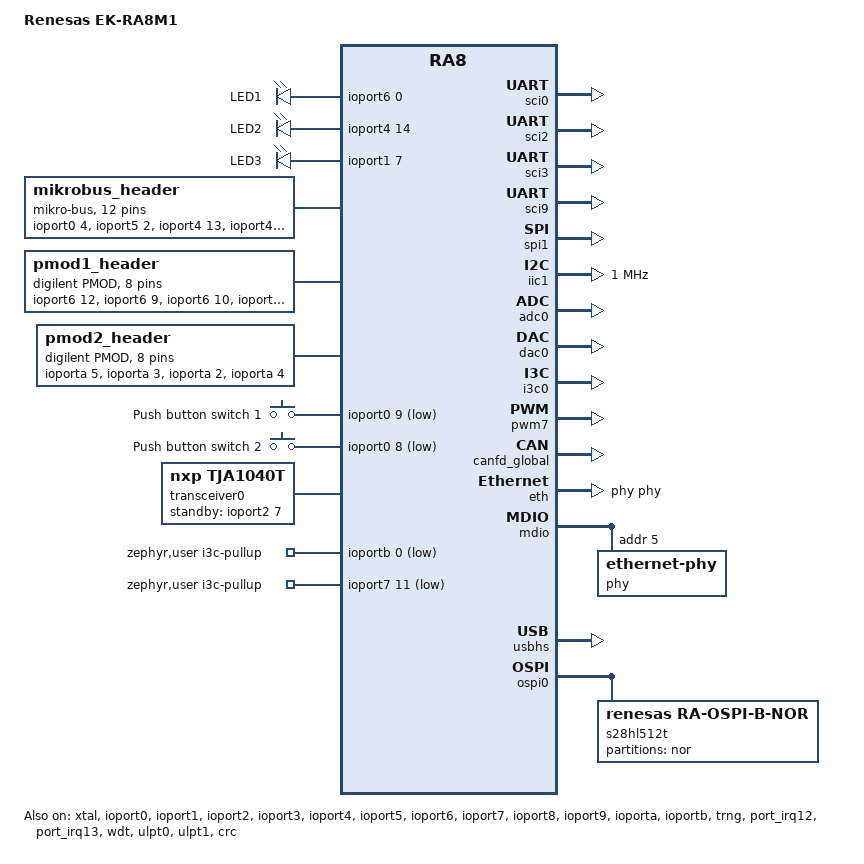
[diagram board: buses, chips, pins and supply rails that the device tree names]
/*
 * Copyright (c) 2024-2025 Renesas Electronics Corporation
 * SPDX-License-Identifier: Apache-2.0
 */

/dts-v1/;

#include <renesas/ra/ra8/r7fa8m1ahecbd.dtsi>
#include <dt-bindings/gpio/gpio.h>
#include <zephyr/dt-bindings/flash_controller/xspi.h>
#include <zephyr/dt-bindings/adc/adc.h>
#include <zephyr/dt-bindings/input/input-event-codes.h>
#include "ek_ra8m1-pinctrl.dtsi"

/ {
	model = "Renesas EK-RA8M1";
	compatible = "renesas,ra8m1", "renesas,ra8";

	chosen {
		zephyr,sram = &sram0;
		zephyr,flash-controller = &flash1;
		zephyr,flash = &flash0;
		zephyr,console = &uart9;
		zephyr,shell-uart = &uart9;
		zephyr,entropy = &trng;
		zephyr,canbus = &canfd0;
		zephyr,crc = &crc;
	};

	leds {
		compatible = "gpio-leds";

		led1: led1 {
			gpios = <&ioport6 0 GPIO_ACTIVE_HIGH>;
			label = "LED1";
		};

		led2: led2 {
			gpios = <&ioport4 14 GPIO_ACTIVE_HIGH>;
			label = "LED2";
		};

		led3: led3 {
			gpios = <&ioport1 7 GPIO_ACTIVE_HIGH>;
			label = "LED3";
		};
	};

	mikrobus_header: mikrobus-connector {
		compatible = "mikro-bus";
		#gpio-cells = <2>;
		gpio-map-mask = <0xffffffff 0xffffffc0>;
		gpio-map-pass-thru = <0 0x3f>;
		gpio-map = <0 0 &ioport0 4 0>,	/* AN  */
			   <1 0 &ioport5 2 0>,	/* RST */
			   <2 0 &ioport4 13 0>,	/* CS   */
			   <3 0 &ioport4 12 0>,	/* SCK  */
			   <4 0 &ioport4 10 0>,	/* MISO */
			   <5 0 &ioport4 11 0>,	/* MOSI */
			   /* +3.3V */
			   /* GND */
			   <6 0 &ioport9 7 0>,	/* PWM  */
			   <7 0 &ioport0 10 0>,	/* INT  */
			   <8 0 &ioport3 9 0>,	/* RX   */
			   <9 0 &ioport3 10 0>,	/* TX   */
			   <10 0 &ioport4 0 0>,	/* SCL  */
			   <11 0 &ioport4 1 0>;	/* SDA  */
		/* +5V */
		/* GND */
	};

	pmod1_header: pmod-connector-1 {
		compatible = "digilent,pmod";
		#gpio-cells = <2>;
		gpio-map-mask = <0xffffffff 0xffffffc0>;
		gpio-map-pass-thru = <0 0x3f>;
		gpio-map = <0 0 &ioport6 12 0>,	/* IO1 */
			   <1 0 &ioport6 9 0>,	/* IO2 */
			   <2 0 &ioport6 10 0>,	/* IO3 */
			   <3 0 &ioport6 11 0>,	/* IO4 */
			   <4 0 &ioport0 6 0>,	/* IO5 */
			   <5 0 &ioporta 8 0>,	/* IO6 */
			   <6 0 &ioport6 14 0>,	/* IO7 */
			   <7 0 &ioport6 15 0>;	/* IO8 */
	};

	pmod2_header: pmod-connector-2 {
		compatible = "digilent,pmod";
		#gpio-cells = <2>;
		gpio-map-mask = <0xffffffff 0xffffffc0>;
		gpio-map-pass-thru = <0 0x3f>;
		gpio-map = <0 0 &ioporta 5 0>,	/* IO1 */
			   <1 0 &ioporta 3 0>,	/* IO2 */
			   <2 0 &ioporta 2 0>,	/* IO3 */
			   <3 0 &ioporta 4 0>,	/* IO4 */
			   <4 0 &ioport5 8 0>,	/* IO5 */
			   <5 0 &ioport8 9 0>,	/* IO6 */
			   <6 0 &ioport8 10 0>,	/* IO7 */
			   <7 0 &ioport8 11 0>;	/* IO8 */
	};

	buttons {
		compatible = "gpio-keys";

		button0: s1 {
			gpios = <&ioport0 9 (GPIO_PULL_UP | GPIO_ACTIVE_LOW)>;
			label = "Push button switch 1";
			zephyr,code = <INPUT_KEY_0>;
		};

		button1: s2 {
			gpios = <&ioport0 8 (GPIO_PULL_UP | GPIO_ACTIVE_LOW)>;
			label = "Push button switch 2";
			zephyr,code = <INPUT_KEY_1>;
		};
	};

	aliases {
		led0 = &led1;
		sw0 = &button0;
		sw1 = &button1;
		watchdog0 = &wdt;
	};

	transceiver0: can-phy0 {
		compatible = "nxp,tja1040t", "can-transceiver-gpio";
		standby-gpios = <&ioport2 7 GPIO_ACTIVE_HIGH>;
		max-bitrate = <5000000>;
		#phy-cells = <0>;
	};

	zephyr,user {
		i3c-pullup-gpios = <&ioportb 0 GPIO_ACTIVE_LOW>,
				   <&ioport7 11 GPIO_ACTIVE_LOW>;
	};
};

&xtal {
	clock-frequency = <DT_FREQ_M(20)>;
	mosel = <0>;
	#clock-cells = <0>;
	status = "okay";
};

&subclk {
	status = "okay";
};

&pll {
	status = "okay";

	pllp {
		status = "okay";
	};

	pllq {
		div = <4>;
		freq = <DT_FREQ_M(240)>;
		status = "okay";
	};

	pllr {
		status = "okay";
	};
};

&pll2 {
	status = "okay";
	clocks = <&xtal>;
	div = <2>;
	mul = <80 0>;

	pll2p {
		status = "okay";
		freq = <DT_FREQ_M(400)>;
		div = <2>;
	};
};

&sciclk {
	clocks = <&pllp>;
	div = <4>;
	status = "okay";
};

&canfdclk {
	clocks = <&pllp>;
	div = <6>;
	status = "okay";
};

&uclk {
	clocks = <&pllq>;
	div = <5>;
	status = "okay";
};

&octaspiclk {
	clocks = <&pll2p>;
	div = <2>;
	status = "okay";
};

&i3cclk {
	clocks = <&pllp>;
	div = <3>;
	status = "okay";
};

&ioport0 {
	status = "okay";
};

&ioport1 {
	status = "okay";
};

&ioport2 {
	status = "okay";
};

&ioport3 {
	status = "okay";
};

&ioport4 {
	status = "okay";
};

&ioport5 {
	status = "okay";
};

&ioport6 {
	status = "okay";
};

&ioport7 {
	status = "okay";
};

&ioport8 {
	status = "okay";
};

&ioport9 {
	status = "okay";
};

&ioporta {
	status = "okay";
};

&ioportb {
	status = "okay";
};

&sci0 {
	pinctrl-0 = <&sci0_default>;
	pinctrl-names = "default";
	status = "okay";

	uart0: uart {
		current-speed = <115200>;
		status = "okay";
	};
};

&sci1 {
	pinctrl-0 = <&sci1_default>;
	pinctrl-names = "default";

	i2c1: i2c {
		sda-output-delay = <300>;
		noise-filter-clock-select = <1>;
		bit-rate-modulation;
	};
};

&sci2 {
	pinctrl-0 = <&sci2_default>;
	pinctrl-names = "default";
	status = "okay";

	uart2: uart {
		current-speed = <115200>;
		status = "okay";
	};
};

&sci3 {
	pinctrl-0 = <&sci3_default>;
	pinctrl-names = "default";
	status = "okay";

	uart3: uart {
		current-speed = <115200>;
		status = "okay";
	};
};

&sci9 {
	pinctrl-0 = <&sci9_default>;
	pinctrl-names = "default";
	status = "okay";

	uart9: uart {
		current-speed = <115200>;
		status = "okay";
	};
};

mikrobus_serial: &uart3 {};

mikrobus_spi: &spi1 {};

&iic1 {
	#address-cells = <1>;
	#size-cells = <0>;
	clock-frequency = <DT_FREQ_M(1)>;
	pinctrl-0 = <&iic1_default>;
	pinctrl-names = "default";
};

&adc0 {
	status = "okay";
	pinctrl-0 = <&adc0_default>;
	pinctrl-names = "default";
	average-count = <4>;
};

&dac0 {
	pinctrl-0 = <&dac0_default>;
	pinctrl-names = "default";
	status = "okay";
};

&trng {
	status = "okay";
};

&spi1 {
	pinctrl-0 = <&spi1_default>;
	pinctrl-names = "default";
	status = "okay";
};

&i3c0 {
	i2c-scl-hz = <DT_FREQ_K(400)>;
	i3c-scl-hz = <DT_FREQ_M(4)>;
	pinctrl-0 = <&i3c0_default>;
	pinctrl-names = "default";
	interrupts = <60 1>, <61 1>, <62 1>, <63 1>, <64 1>, <65 1>;
	interrupt-names = "resp", "rx", "tx", "rcv", "ibi", "eei";
	status = "okay";
};

&pwm7 {
	pinctrl-0 = <&pwm7_default>;
	interrupts = <40 1>, <41 1>;
	interrupt-names = "gtioca", "overflow";
	pinctrl-names = "default";
	status = "okay";
};

&flash1 {
	partitions {
		compatible = "fixed-partitions";
		#address-cells = <1>;
		#size-cells = <1>;

		storage_partition: partition@0 {
			label = "storage";
			reg = <0X0 DT_SIZE_K(12)>;
		};
	};
};

&canfd_global {
	status = "okay";

	canfd0 {
		pinctrl-0 = <&canfd0_default>;
		pinctrl-names = "default";
		phys = <&transceiver0>;
		rx-max-filters = <16>;
		status = "okay";
	};
};

pmod1_serial: &uart0 {};

pmod2_serial: &uart2 {};

pmod_serial: &pmod1_serial {};

pmod_header: &pmod1_header {};

&eth {
	local-mac-address = [74 90 50 B0 6D 5A];
	status = "okay";
	phy-handle = <&phy>;
};

&mdio {
	pinctrl-0 = <&ether_default>;
	pinctrl-names = "default";
	status = "okay";

	phy: ethernet-phy@5 {
		compatible = "ethernet-phy";
		reg = <5>;
		status = "okay";
	};
};

&usbhs {
	pinctrl-0 = <&usbhs_default>;
	pinctrl-names = "default";
	maximum-speed = "high-speed";
	status = "okay";

	zephyr_udc0: udc {
		status = "okay";
	};
};

&usbhs_phy {
	phys-clock-src = "xtal";
};

&port_irq12 {
	interrupts = <88 12>;
	status = "okay";
};

&port_irq13 {
	interrupts = <89 12>;
	status = "okay";
};

pmod_sd_shield: &sdhc0 {};

&usbfs {
	pinctrl-0 = <&usbfs_default>;
	pinctrl-names = "default";
	maximum-speed = "full-speed";
};

&wdt {
	status = "okay";
};

&ulpt0 {
	status = "okay";

	timer {
		status = "okay";
	};
};

&ulpt1 {
	status = "okay";

	timer {
		status = "okay";
	};
};

&ospi0 {
	pinctrl-0 = <&ospi0_default>;
	pinctrl-names = "default";
	status = "okay";

	s28hl512t: ospi-nor-flash@90000000 {
		compatible = "renesas,ra-ospi-b-nor";
		protocol-mode = <XSPI_OCTO_MODE>;
		data-rate = <XSPI_DTR_TRANSFER>;
		ospi-max-frequency = <DT_FREQ_M(200)>;
		reg = <0x90000000 DT_SIZE_M(64)>;
		write-block-size = <1>;
		status = "okay";

		pages_layout: pages_layout {
			pages_layout_4k: pages_layout_4k {
				pages-count = <32>;
				pages-size = <DT_SIZE_K(4)>;
			};

			pages_layout_128k: pages_layout_128k {
				pages-count = <1>;
				pages-size = <DT_SIZE_K(128)>;
			};

			pages_layout_256k: pages_layout_256k {
				pages-count = <255>;
				pages-size = <DT_SIZE_K(256)>;
			};
		};

		partitions {
			compatible = "fixed-partitions";
			#address-cells = <1>;
			#size-cells = <1>;

			partition@0 {
				label = "nor";
				reg = <0x00000000 DT_SIZE_M(64)>;
			};
		};
	};
};

&crc {
	status = "okay";
};
